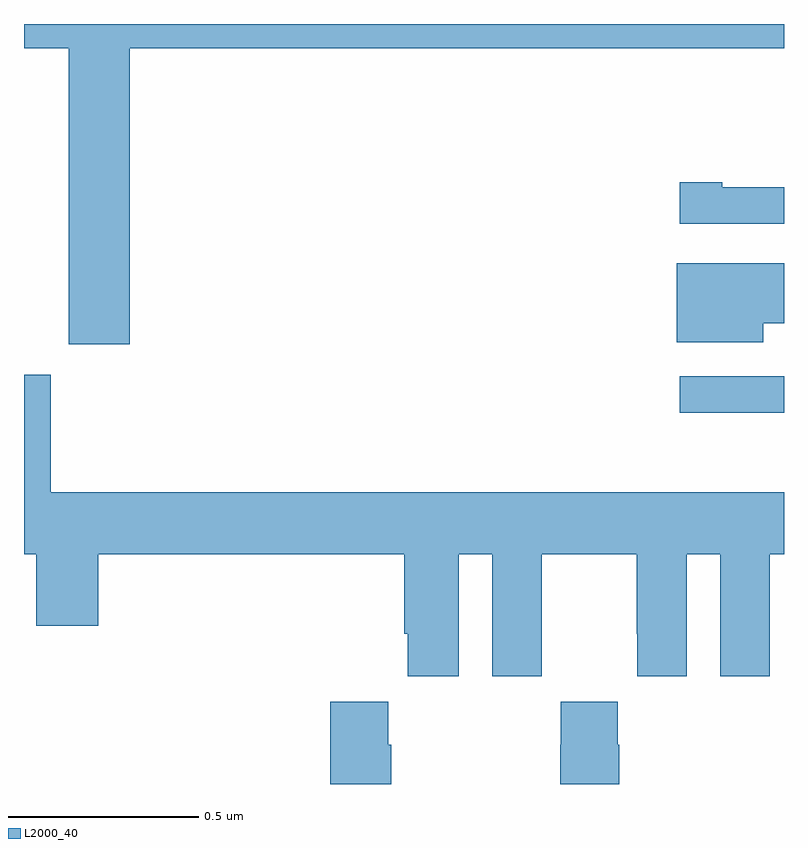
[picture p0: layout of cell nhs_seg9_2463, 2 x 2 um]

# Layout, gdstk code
import gdstk
lib = gdstk.Library(unit=1e-6, precision=1e-09)
def R(c, l, rs):  # rectangles x0, y0, x1, y1
    for r in rs: c.add(gdstk.rectangle(r[:2], r[2:], *l))
def P(c, l, *ps):  # polygons
    for p in ps: c.add(gdstk.Polygon(p, *l))
L2000_40 = (2000, 40)

nhs_seg9_2463 = lib.new_cell('nhs_seg9_2463')
R(nhs_seg9_2463, L2000_40, [(142.725,1179.477,143,1179.573)])
P(nhs_seg9_2463, L2000_40, [(141,1180.436),(141.118,1180.436),(141.118,1179.657),(141.278,1179.657),(141.278,1180.436),(143,1180.436),(143,1180.5),(141,1180.5)],
  [(143,1180.071),(142.837,1180.071),(142.837,1180.084),(142.725,1180.084),(142.725,1179.975),(143,1179.975)],
  [(142.945,1179.713),(143,1179.713),(143,1179.871),(142.718,1179.871),(142.718,1179.662),(142.945,1179.662)],
  [(142.144,1179.104),(142.232,1179.104),(142.232,1178.784),(142.362,1178.784),(142.362,1178.896),(142.363,1178.896),(142.363,1179.104),(142.613,1179.104),(142.613,1178.896),(142.614,1178.896),(142.614,1178.784),(142.744,1178.784),(142.744,1179.104),(142.832,1179.104),(142.832,1178.784),(142.962,1178.784),(142.962,1178.896),(142.963,1178.896),(142.963,1179.104),(143,1179.104),(143,1179.268),(141.07,1179.268),(141.07,1179.577),(141,1179.577),(141,1179.104),(141.032,1179.104),(141.032,1178.916),(141.196,1178.916),(141.196,1179.104),(142.001,1179.104),(142.001,1178.896),(142.01,1178.896),(142.01,1178.784),(142.144,1178.784)],
  [(142.566,1178.603),(142.563,1178.603),(142.563,1178.716),(142.413,1178.716),(142.413,1178.603),(142.411,1178.603),(142.411,1178.5),(142.566,1178.5)],
  [(141.966,1178.603),(141.959,1178.603),(141.959,1178.716),(141.806,1178.716),(141.806,1178.5),(141.966,1178.5)])

lib.write_gds('nhs_seg9_2463.gds')
